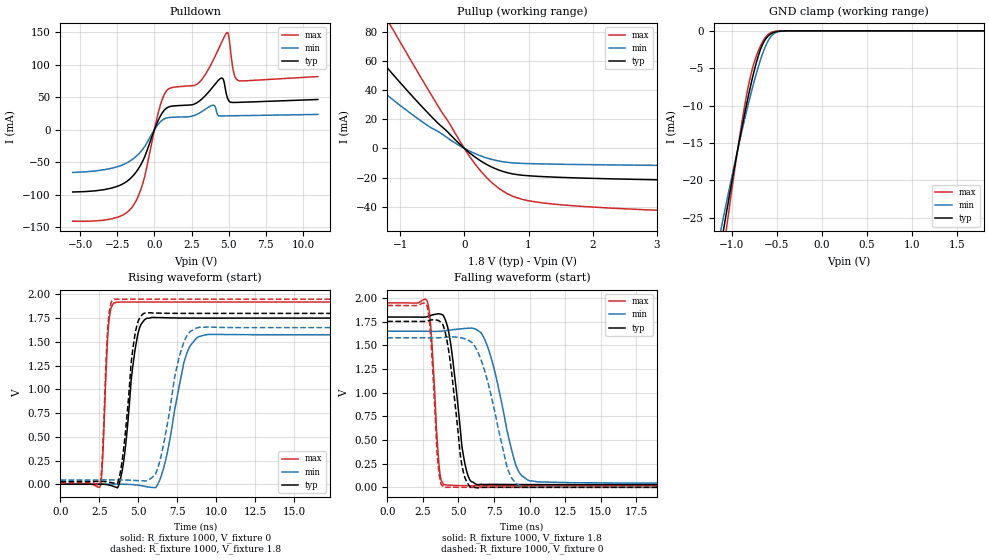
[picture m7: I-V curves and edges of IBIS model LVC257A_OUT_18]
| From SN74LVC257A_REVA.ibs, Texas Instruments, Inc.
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[Model]   LVC257A_OUT_18
Model_type  3-state
Enable   Active-Low
Vref =   0
Rref =   1000
Cref =   30p
Vmeas =   0.9
| variable   typ   min   max
C_comp   4.14pF   3.67pF   4.49pF
| C_pullup   5.79pF   4.15pF   6.46pF
| C_pulldown   8.02pF   4.43pF   12.62pF
| C_tri-state   4.14pF   3.67pF   4.49pF
[Temperature Range]   40   100   -40
| Ambient temperature   25   85   -40
[Voltage range]   1.8   1.65   1.95
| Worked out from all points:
|   slope of the pulldown table from 0 to 0.27 V, typ, clamps not added: 18 ohm
|   slope of the pullup table from 0 to 0.27 V, typ, clamps not added: 30 ohm
|   GND clamp passes 1 mA (typ) near -0.62 V on its own axis
|   rising waveform, R_fixture 1000, V_fixture 0: 20-80 % time 635ps typ, 1.06ns min, 288ps max; typ from 0 V to 1.75 V
|   falling waveform, R_fixture 1000, V_fixture 1.8: 20-80 % time 777ps typ, 1.42ns min, 432ps max; typ from 1.8 V to 0.029 V
|   rising waveform, R_fixture 1000, V_fixture 1.8: 20-80 % time 601ps typ, 1.06ns min, 286ps max; typ from 0.029 V to 1.8 V
|   falling waveform, R_fixture 1000, V_fixture 0: 20-80 % time 772ps typ, 1.48ns min, 415ps max; typ from 1.75 V to 0 V
[GND Clamp]
| LVC257A_OUT_18
|   Voltage   I(typ)   I(min)   I(max)
-5.5V     -447.4mA   -374mA     -553.8mA
-1.125V   -28.79mA   -26.67mA   -32.18mA
-1.09V    -26.28mA   -24.59mA   -28.98mA
-1.055V   -23.82mA   -22.54mA   -25.84mA
-900mV    -13.56mA   -13.93mA   -12.98mA
-800mV    -7.717mA   -8.892mA   -6.34mA
-750mV    -5.175mA   -6.598mA   -4.101mA
-685mV    -2.54mA    -3.947mA   -2.049mA
-585mV    -551.6uA   -1.063mA   -358.9uA
-525mV    -166.3uA   -308.5uA   -75.26uA
-415mV    -10.7uA    -20.31uA   -1.931uA
1.8V      37.17pA    17.14nA    17.68pA
[Pulldown]
| LVC257A_OUT_18
|   Voltage   I(typ)   I(min)   I(max)
-5.5V     -95.7mA    -65.71mA   -140.6mA
-1.555V   -73.55mA   -46.78mA   -120.5mA
-760mV    -46.91mA   -29.27mA   -80.7mA
215mV     12.2mA     7.093mA    22.06mA
705mV     30.9mA     17mA       55.76mA
3.015V    43.72mA    25.42mA    72.53mA
3.97V     66.63mA    37.47mA    107.3mA
4.51V     79.15mA    21.12mA    133.4mA
4.885V    50.73mA    21.2mA     149mA
5.33V     41.73mA    21.33mA    88.41mA
5.625V    41.89mA    21.43mA    75.6mA
11V       46.29mA    23.39mA    81.52mA
[Pullup]
| LVC257A_OUT_18
|   Voltage   I(typ)   I(min)   I(max)
-5.5V     300.2mA    185.5mA    421.1mA
-2.44V    122mA      84.46mA    184mA
-1.735V   83.21mA    56.24mA    129.3mA
-1.255V   57.97mA    38.38mA    92.35mA
-1.06V    48.07mA    31.52mA    77.48mA
-425mV    17.89mA    11.96mA    30.14mA
60mV      -2.272mA   -1.379mA   -4.071mA
255mV     -8.579mA   -5.139mA   -15.52mA
590mV     -15.67mA   -9.081mA   -28.96mA
995mV     -18.76mA   -10.44mA   -35.84mA
3.33V     -21.82mA   -11.76mA   -42.98mA
11V       -26.38mA   -13.81mA   -53.15mA
[Ramp]
| LVC257A_OUT_18
| variable   typ   min   max
dV/dt_r   1.08/6.90E-10   0.97/1.11E-09   1.17/3.00E-10
dV/dt_f   1.08/8.49E-10   0.98/1.49E-09   1.18/4.67E-10
R_load = 1000
[Rising Waveform]
| LVC257A_OUT_18
R_fixture =   1000
C_fixture =   0
L_fixture =   0
V_fixture =   0
V_fixture_min = 0
V_fixture_max = 0
|   Time   V(typ)   V(min)   V(max)
0s        304.6pV    5.486nV    67.19pV
2.575ns   575.9uV    89.69uV    -9.253mV
3.065ns   -6.674mV   617.9uV    1.624V
3.43ns    -23.45mV   582.6uV    1.91V
4.93ns    1.548V     -8.92mV    1.921V
5.505ns   1.746V     -25.54mV   1.921V
6.46ns    1.756V     81.56mV    1.92V
7.915ns   1.751V     1.273V     1.92V
8.89ns    1.751V     1.556V     1.92V
24.99ns   1.751V     1.575V     1.92V
[Falling Waveform]
| LVC257A_OUT_18
R_fixture =   1000
C_fixture =   0
L_fixture =   0
V_fixture =   1.8
V_fixture_min = 1.65
V_fixture_max = 1.95
|   Time   V(typ)   V(min)   V(max)
0s        1.8V       1.65V      1.95V
2.815ns   1.804V     1.649V     1.964V
3.085ns   1.818V     1.649V     1.641V
3.66ns    1.833V     1.649V     196.2mV
3.995ns   1.799V     1.653V     27.41mV
5.925ns   58.56mV    1.683V     17.27mV
7.025ns   30.78mV    1.497V     17.3mV
8.99ns    29.76mV    253.6mV    17.39mV
9.83ns    29.36mV    80.31mV    17.39mV
24.99ns   29.02mV    45.01mV    17.39mV
[Rising Waveform]
| LVC257A_OUT_18
R_fixture =   1000
C_fixture =   0
L_fixture =   0
V_fixture =   1.8
V_fixture_min = 1.65
V_fixture_max = 1.95
|   Time   V(typ)   V(min)   V(max)
0s        29.01mV    44.96mV    17.39mV
2.545ns   29.38mV    45.02mV    12.45mV
3.055ns   23.12mV    45.43mV    1.686V
3.445ns   12.91mV    45.18mV    1.949V
3.955ns   239mV      44.71mV    1.949V
4.795ns   1.584V     40.03mV    1.95V
5.355ns   1.8V       35.79mV    1.95V
6.225ns   1.804V     157.3mV    1.95V
8.695ns   1.8V       1.643V     1.95V
24.99ns   1.8V       1.65V      1.95V
[Falling Waveform]
| LVC257A_OUT_18
R_fixture =   1000
C_fixture =   0
L_fixture =   0
V_fixture =   0
V_fixture_min = 0
V_fixture_max = 0
|   Time   V(typ)   V(min)   V(max)
0s        1.754V     1.581V     1.922V
2.79ns    1.758V     1.58V      1.92V
3.065ns   1.769V     1.58V      1.561V
3.565ns   1.765V     1.581V     249.6mV
4.01ns    1.673V     1.585V     -1.344mV
5.205ns   269.8mV    1.58V      439uV
5.88ns    -561.3uV   1.537V     -68.31uV
8.44ns    391uV      205.2mV    -3.638uV
9.29ns    191.1uV    16.98mV    571.9nV
24.99ns   5.826uV    34.41uV    1.352uV
